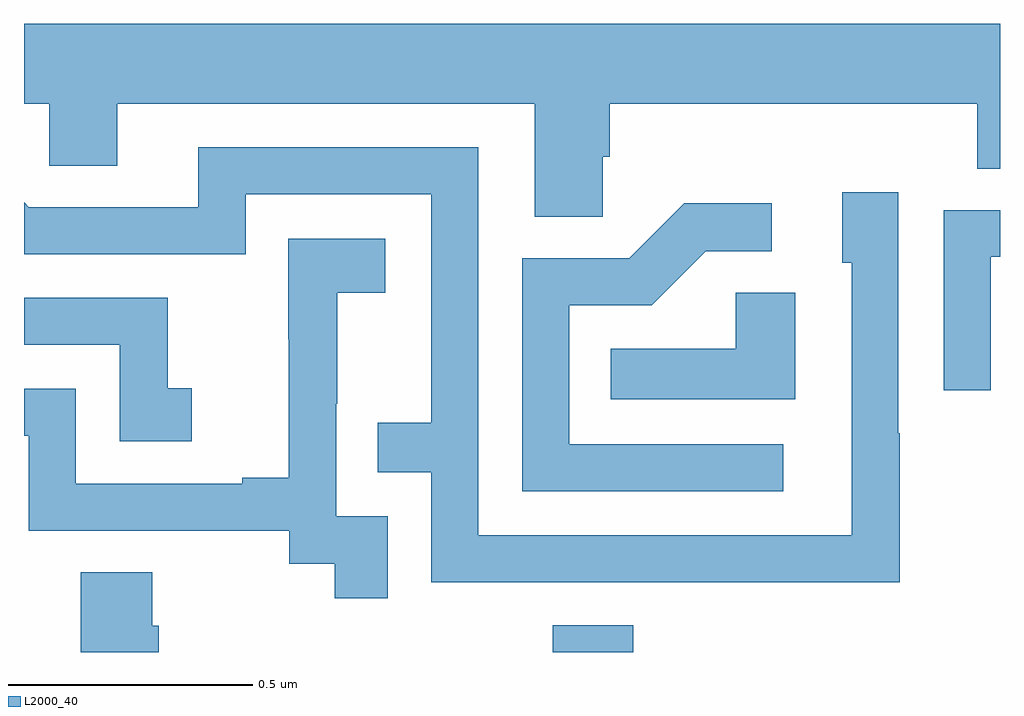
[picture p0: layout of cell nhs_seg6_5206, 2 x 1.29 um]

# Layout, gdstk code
import gdstk
lib = gdstk.Library(unit=1e-6, precision=1e-09)
def R(c, l, rs):  # rectangles x0, y0, x1, y1
    for r in rs: c.add(gdstk.rectangle(r[:2], r[2:], *l))
def P(c, l, *ps):  # polygons
    for p in ps: c.add(gdstk.Polygon(p, *l))
L2000_40 = (2000, 40)

nhs_seg6_5206 = lib.new_cell('nhs_seg6_5206')
R(nhs_seg6_5206, L2000_40, [(180.083,991.5,180.248,991.555)])
P(nhs_seg6_5206, L2000_40, [(180.186,992.515),(180.2,992.515),(180.2,992.624),(180.953,992.624),(180.953,992.491),(181,992.491),(181,992.788),(179,992.788),(179,992.624),(179.052,992.624),(179.052,992.497),(179.191,992.497),(179.191,992.624),(180.047,992.624),(180.047,992.392),(180.186,992.392)],
  [(180.795,991.949),(180.792,991.949),(180.792,992.443),(180.677,992.443),(180.677,992.298),(180.696,992.298),(180.696,991.74),(179.931,991.74),(179.931,992.535),(179.357,992.535),(179.357,992.412),(179.01,992.412),(179,992.422),(179,992.316),(179.454,992.316),(179.454,992.439),(179.835,992.439),(179.835,991.97),(179.725,991.97),(179.725,991.869),(179.835,991.869),(179.835,991.644),(180.331,991.644),(180.331,991.643),(180.795,991.643)],
  [(180.556,991.926),(180.117,991.926),(180.117,992.211),(180.286,992.211),(180.397,992.322),(180.532,992.322),(180.532,992.42),(180.353,992.42),(180.24,992.307),(180.021,992.307),(180.021,991.83),(180.556,991.83)],
  [(180.981,992.31),(181,992.31),(181,992.406),(180.885,992.406),(180.885,992.037),(180.981,992.037)],
  [(179.745,991.779),(179.64,991.779),(179.64,992.009),(179.642,992.009),(179.642,992.237),(179.74,992.237),(179.74,992.347),(179.542,992.347),(179.542,992.141),(179.543,992.141),(179.543,991.858),(179.447,991.858),(179.447,991.845),(179.106,991.845),(179.106,992.04),(179,992.04),(179,991.944),(179.01,991.944),(179.01,991.749),(179.544,991.749),(179.544,991.681),(179.637,991.681),(179.637,991.611),(179.745,991.611)],
  [(180.58,992.237),(180.459,992.237),(180.459,992.122),(180.202,992.122),(180.202,992.018),(180.58,992.018)],
  [(179.344,992.041),(179.295,992.041),(179.295,992.226),(179,992.226),(179,992.13),(179.196,992.13),(179.196,991.932),(179.344,991.932)],
  [(179.276,991.554),(179.263,991.554),(179.263,991.664),(179.116,991.664),(179.116,991.5),(179.276,991.5)])

lib.write_gds('nhs_seg6_5206.gds')
